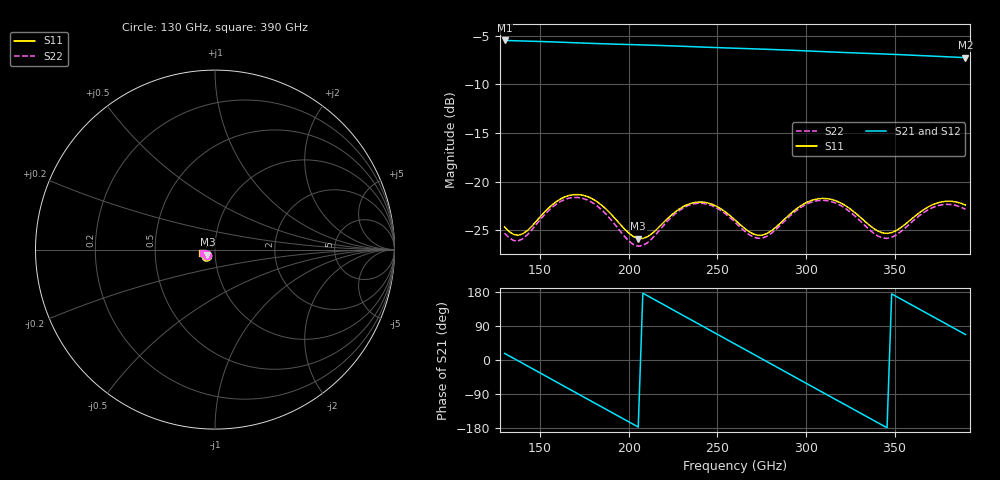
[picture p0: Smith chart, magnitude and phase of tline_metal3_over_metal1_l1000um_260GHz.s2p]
#  GHZ S DB R 50
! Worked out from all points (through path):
!   101 points, 130 GHz to 390 GHz, reference 50 ohm
!   highest |S21| = -5.50 dB at 130 GHz (marker M1); lowest = -7.3 dB at 390 GHz (marker M2)
!   group delay of S21, straight-line fit = 7.16 ps
!   lowest |S11| = -25.9 dB at 205.4 GHz (marker M3), VSWR 1.11, Z = 45.9 - j2.58 ohm
!   |S11| at or under -10 dB: start of sweep to end of sweep
!   |S22| runs from -26.6 to -21.6 dB; largest |S21 - S12| = 6.1e-14
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130  -24.67 -143.0  -5.50 17.5  -5.50 17.5  -25.31 -143.4
137.8  -25.52 -131.8  -5.54 -2.6  -5.54 -2.6  -26.09 -130.7
148.2  -24.01 -121.2  -5.59 -29.4  -5.59 -29.4  -24.33 -120.1
161.2  -21.83 -127.9  -5.67 -63.0  -5.67 -63.0  -22.08 -127.8
174.2  -21.40 -142.9  -5.76 -96.5  -5.76 -96.5  -21.73 -143.6
192.4  -23.81 -156.9  -5.87 -143.4  -5.87 -143.4  -24.46 -157.6
205.4  -25.85 -146.5  -5.94 -176.9  -5.94 -176.9  -26.64 -144.3
218.4  -24.45 -133.3  -6.02 149.5  -6.02 149.5  -24.78 -129.9
228.8  -22.79 -136.4  -6.08 122.6  -6.08 122.6  -22.95 -134.0
239.2  -22.10 -145.6  -6.16 95.8  -6.16 95.8  -22.23 -144.1
249.6  -22.54 -155.0  -6.23 69.0  -6.23 69.0  -22.70 -154.2
260  -23.95 -159.5  -6.29 42.2  -6.29 42.2  -24.18 -158.9
270.4  -25.40 -153.3  -6.36 15.4  -6.36 15.4  -25.71 -152.5
280.8  -25.03 -141.4  -6.43 -11.5  -6.43 -11.5  -25.29 -140.0
291.2  -23.32 -138.6  -6.50 -38.4  -6.50 -38.4  -23.51 -137.5
304.2  -21.88 -147.2  -6.60 -71.9  -6.60 -71.9  -22.05 -146.7
322.4  -22.49 -163.1  -6.74 -118.7  -6.74 -118.7  -22.78 -163.4
335.4  -24.42 -164.9  -6.83 -152.1  -6.83 -152.1  -24.88 -165.0
348.4  -25.25 -152.3  -6.92 174.4  -6.92 174.4  -25.73 -150.9
358.8  -23.97 -145.5  -7.00 147.6  -7.00 147.6  -24.32 -143.9
371.8  -22.36 -150.2  -7.11 114.1  -7.11 114.1  -22.65 -149.4
390  -22.41 -164.7  -7.26 67.4  -7.26 67.4  -22.84 -164.9
